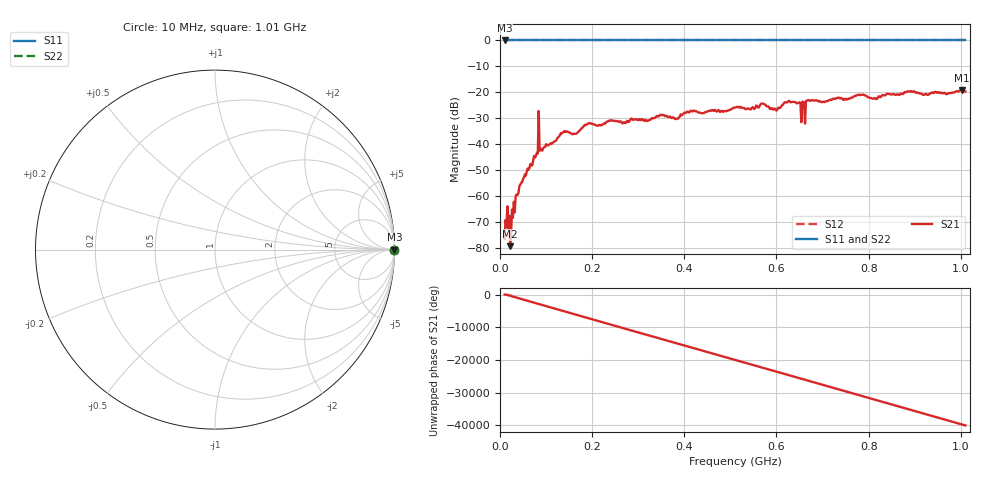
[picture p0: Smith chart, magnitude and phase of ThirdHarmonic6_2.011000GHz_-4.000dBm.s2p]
! 8/17/2025 12:08:50 AM
! C:\ANRITSUVNA\TEMP\TEMP.S2P
! CHANNEL.1
! TR.MEASUREMENT
! RAW.DATA
! RF.CORRECTION.OFF
! AVERAGING.OFF
! IF.BANDWIDTH: 5KHZ
! SWEEPTYPE:  FREQ.SWEEP(Linear)
! Reference Plane Port Info
! PORT:  PORT1  PORT2
! DISTANCE:  0  m  0  m
! TIME:  0  s  0  s
! PHASE.OFFSET:  0  deg.  0  deg.
! LOSS:  0  dB  0  dB
! REF.LOSS:  0  dB  0  dB
! REF.FREQ:  0  Hz  0  Hz
! Power Info
! POWER:  -20  dBm  -20  dBm
! EFF.POWER:  -20  dBm  -20  dBm
! SOURCE.ATTEN:  0  dB  0  dB
! TEST.ATTEN:  0  dB  0  dB
# GHZ S RI R 50.0
! FREQ.GHZ  S11RE  S11IM  S21RE  S21IM  S12RE  S12IM  S22RE  S22IM
!; PortSelection: Port_12
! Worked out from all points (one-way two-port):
!   501 points, 10 MHz to 1.01 GHz, reference 50 ohm
!   highest |S21| = -19.10 dB at 1.002 GHz (marker M1); lowest = -79.3 dB at 22 MHz (marker M2)
!   lowest |S11| = 0.0 dB at 10 MHz (marker M3)
!   |S11| at or under -10 dB: nowhere
!   |S22| runs from 0.0 to 0.0 dB; largest |S21 - S12| = 1.1
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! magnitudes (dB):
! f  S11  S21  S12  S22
! 10 MHz  0.0  -76.5  0.0  0.0
! 16 MHz  0.0  -63.9  0.0  0.0
! 22 MHz  0.0  -79.3  0.0  0.0
! 38 MHz  0.0  -59.6  0.0  0.0
! 78 MHz  0.0  -44.5  0.0  0.0
! 80 MHz  0.0  -43.3  0.0  0.0
! 84 MHz  0.0  -27.2  0.0  0.0
! 88 MHz  0.0  -41.7  0.0  0.0
! 90 MHz  0.0  -42.4  0.0  0.0
! 136 MHz  0.0  -35.6  0.0  0.0
! 178 MHz  0.0  -33.7  0.0  0.0
! 344 MHz  0.0  -29.3  0.0  0.0
! 510 MHz  0.0  -25.9  0.0  0.0
! 570 MHz  0.0  -24.3  0.0  0.0
! 598 MHz  0.0  -26.5  0.0  0.0
! 630 MHz  0.0  -23.8  0.0  0.0
! 658 MHz  0.0  -23.6  0.0  0.0
! 668 MHz  0.0  -23.0  0.0  0.0
! 678 MHz  0.0  -23.0  0.0  0.0
! 844 MHz  0.0  -20.7  0.0  0.0
! 1.002 GHz  0.0  -19.1  0.0  0.0
! 1.01 GHz  0.0  -19.7  0.0  0.0
